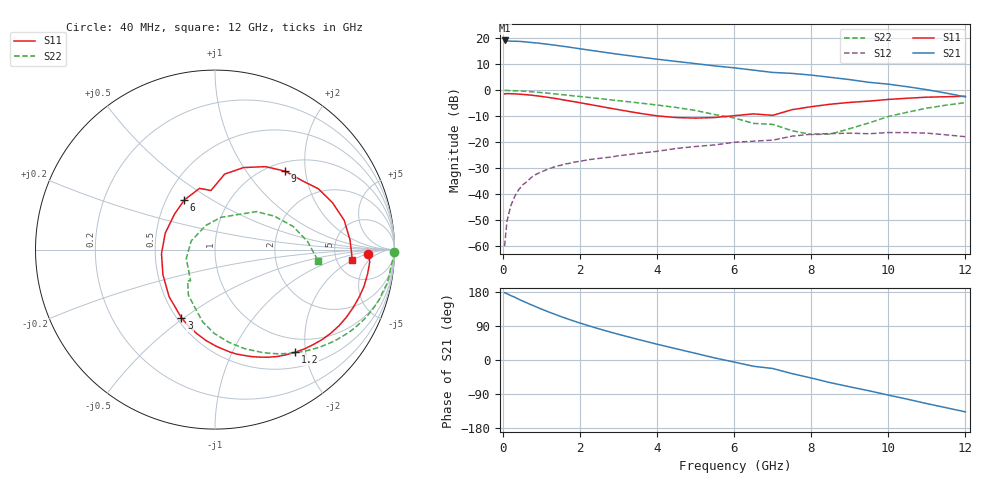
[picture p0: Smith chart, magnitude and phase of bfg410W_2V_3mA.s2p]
! Filename: 23bfg410.001
! BFG410W Field B1
! V1=8.442E-001V,V2=2.000E+000V, I1=4.328E-005A, I2=3.000E-003A
# GHz  S  MA  R 50
!  S11  S21  S12  S22
!Freq(GHz)  Mag  Ang  Mag  Ang  Mag  Ang  Mag  Ang
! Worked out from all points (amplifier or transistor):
!   44 points, 40 MHz to 12 GHz, reference 50 ohm
!   highest |S21| = 19.2 dB at 40 MHz (marker M1)
!   |S21| within 3 dB of that: start of sweep to 1.907 GHz
!   unconditionally stable (mu >= 1): 3.052 GHz to end of sweep
!   at 700 MHz: K = 0.23, MSG = 26.2 dB, |S12| = -34.0 dB
!   at 2.4 GHz: K = 0.79, MSG = 20.8 dB, |S12| = -26.4 dB
!   at 12 GHz: K = 1.69, MAG = 2.8 dB, |S12| = -17.9 dB
!   S11 on the Smith chart (normalised r, x): 40 MHz: 12, -2; 1.2 GHz: 0.75, -1.80; 3 GHz: 0.53, -0.49; 6 GHz: 0.62, +0.38; 9 GHz: 1.17, +1.55; 12 GHz: 7.01, -2.05
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0.04  0.854 -1.8  9.123 177.6  0.001 50.2  0.996 -0.7
0.1  0.865 -4.5  8.958 175.1  0.003 90.3  0.995 -2.5
0.2  0.861 -9.1  8.837 169.9  0.006 83.5  0.984 -5.9
0.4  0.846 -18.1  8.765 160.6  0.012 78.4  0.975 -11.6
0.6  0.824 -27.0  8.549 151.6  0.017 72.0  0.957 -16.8
0.9  0.78 -39.9  8.123 138.5  0.025 63.9  0.919 -24.8
1.2  0.725 -52.1  7.634 126.2  0.031 57.1  0.876 -31.9
1.7  0.63 -71.1  6.811 107.5  0.039 47.9  0.802 -42.3
2.2  0.542 -88.6  6.001 91.1  0.046 41.0  0.732 -51.6
2.6  0.479 -102.2  5.437 79.0  0.05 36.9  0.681 -58.5
3  0.424 -116.1  4.944 67.7  0.055 33.3  0.632 -65.2
3.5  0.366 -134.4  4.421 54.4  0.061 29.3  0.576 -73.4
4.5  0.299 -175.7  3.599 29.4  0.076 20.3  0.467 -90.5
5.5  0.3 138.8  2.949 5.3  0.089 7.5  0.341 -109.3
6  0.325 121.7  2.711 -5.5  0.1 2.5  0.294 -120.3
6.5  0.352 104.2  2.447 -16.5  0.105 -3.9  0.231 -131.2
7  0.33 94.0  2.21 -22.4  0.11 3.4  0.221 -128.1
7.5  0.424 82.7  2.119 -35.9  0.131 -12.1  0.167 -163.1
8.5  0.541 58.7  1.778 -59.9  0.147 -35.1  0.144 110.8
9  0.586 48.2  1.608 -70.8  0.15 -44.8  0.183 79.5
10.5  0.705 21.7  1.172 -103.6  0.154 -75.1  0.38 29.3
12  0.768 -4.5  0.749 -136.8  0.128 -113.8  0.58 -6.5
